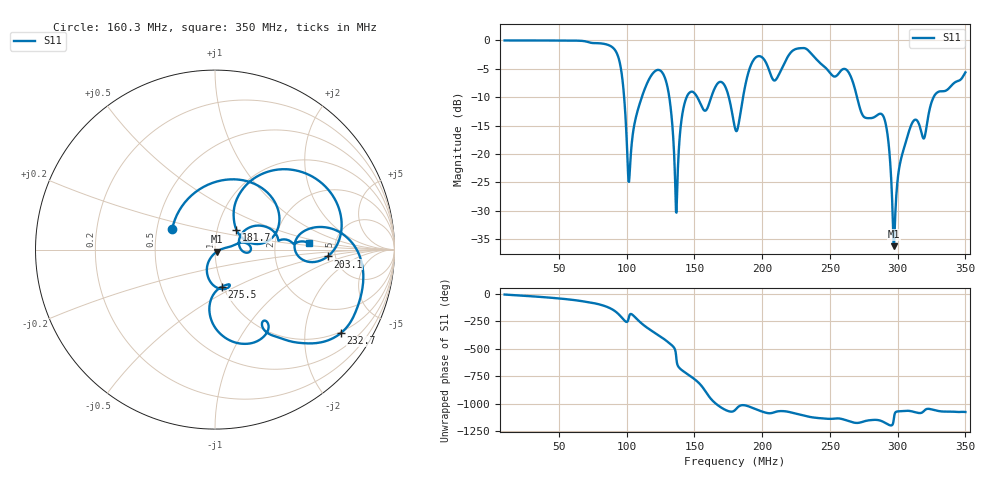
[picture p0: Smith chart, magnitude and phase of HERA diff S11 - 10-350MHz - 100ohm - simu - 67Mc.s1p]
! TOUCHSTONE file generated by CST MICROWAVE STUDIO
! Date and time: Thu Mar 16 10:24:16 2017
! Project name: HERA CST model - REF - 10-350MHz - 67Mc.cst
! Header version: 2015
! Port assignment regex: !\s*Touchstone port\s*([0-9]+)\s*=\s*CST MWS port\s*([0-9]+)\s*\(\"(.*)\"\)(\s*mode\s*([0-9]+))?.*
! Touchstone port assignment:
! Touchstone port 1 = CST MWS port 1 ("")
# MHZ S MA R 100
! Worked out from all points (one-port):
!   1001 points, 10 MHz to 350 MHz, reference 100 ohm
!   lowest |S11| = -36.3 dB at 297.3 MHz (marker M1), VSWR 1.03, Z = 102 - j2.34 ohm
!   |S11| at or under -10 dB: 98.19 MHz to 111.2 MHz (13.04 MHz wide, 12.5 % of centre); 131.5 MHz to 144.3 MHz (12.8 MHz wide, 9.28 % of centre); 270.1 MHz to 326.5 MHz (56.48 MHz wide, 18.9 % of centre)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
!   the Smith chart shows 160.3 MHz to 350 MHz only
!   S11 on the Smith chart (normalised r, x): 160.3 MHz: 0.60, +0.15; 181.7 MHz: 1.23, +0.28; 203.1 MHz: 4.32, -0.54; 232.7 MHz: 0.95, -3.04; 275.5 MHz: 0.99, -0.43; 350 MHz: 3.16, +0.32
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10  0.9999 -7.4
52.5  0.9982 -45.6
82.42  0.9375 -105.8
90.92  0.8391 -153.8
95  0.6359 162.9
102.14  0.06371 164.5
113.36  0.3725 67.1
121.18  0.5384 1.7
128.66  0.4546 -61.5
137.5  0.05643 75.1
144.3  0.3162 -5.9
152.46  0.3117 -81.5
160.28  0.2644 154.7
165.72  0.3934 81.4
171.16  0.42 34.6
180  0.1685 21.0
181.7  0.1631 43.2
191.9  0.6127 46.7
203.12  0.6289 -3.5
210.26  0.4525 6.5
222.5  0.8114 -3.4
232.7  0.8414 -33.6
265  0.4936 -83.5
275.54  0.2103 -79.8
290.5  0.1992 -92.6
297.3  0.01538 -48.2
307.5  0.1464 15.0
350  0.523 4.1
